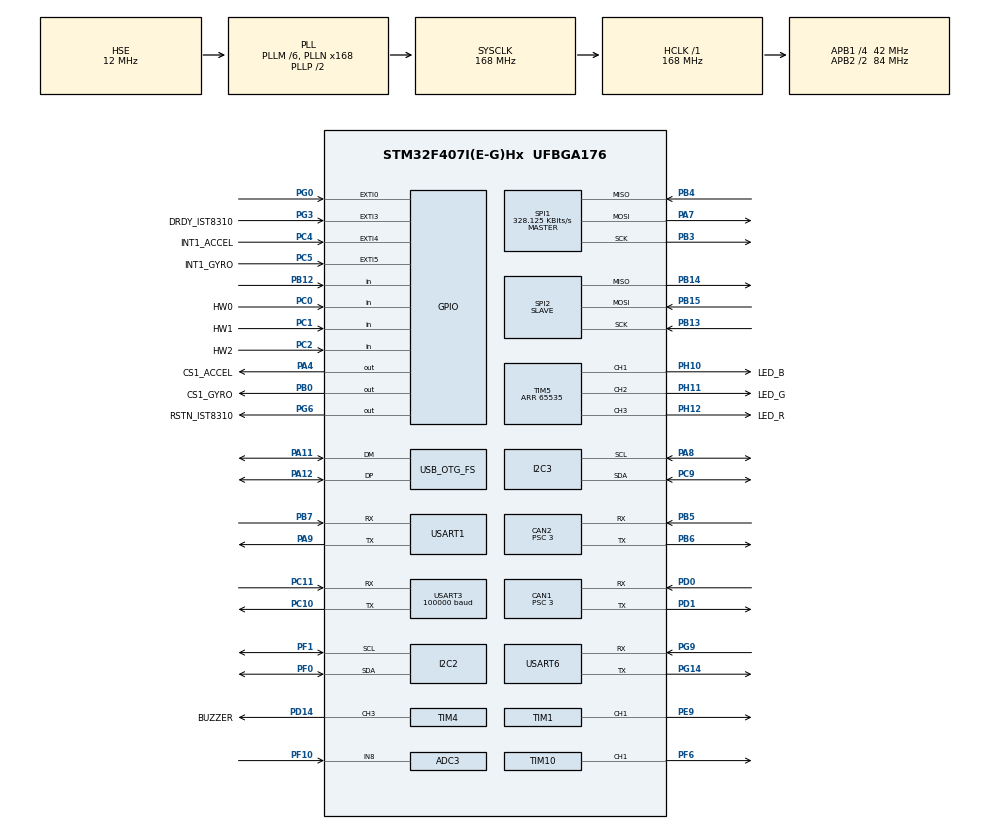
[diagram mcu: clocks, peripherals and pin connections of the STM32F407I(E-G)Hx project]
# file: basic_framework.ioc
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ADC1.Channel-0\#ChannelRegularConversion=ADC_CHANNEL_TEMPSENSOR
ADC1.ClockPrescaler=ADC_CLOCK_SYNC_PCLK_DIV6
ADC1.NbrOfConversionFlag=1
ADC1.Rank-0\#ChannelRegularConversion=1
ADC1.SamplingTime-0\#ChannelRegularConversion=ADC_SAMPLETIME_3CYCLES
ADC1.master=1
ADC3.Channel-0\#ChannelRegularConversion=ADC_CHANNEL_8
ADC3.ClockPrescaler=ADC_CLOCK_SYNC_PCLK_DIV6
ADC3.NbrOfConversionFlag=1
ADC3.Rank-0\#ChannelRegularConversion=1
ADC3.SamplingTime-0\#ChannelRegularConversion=ADC_SAMPLETIME_3CYCLES
CAN1.BS1=CAN_BS1_10TQ
CAN1.BS2=CAN_BS2_3TQ
CAN1.CalculateBaudRate=1000000
CAN1.CalculateTimeBit=1000
CAN1.CalculateTimeQuantum=71.42857142857143
CAN1.Prescaler=3
CAN2.BS1=CAN_BS1_10TQ
CAN2.BS2=CAN_BS2_3TQ
CAN2.CalculateBaudRate=1000000
CAN2.CalculateTimeBit=1000
CAN2.CalculateTimeQuantum=71.42857142857143
CAN2.Prescaler=3
Dma.Request0=USART3_RX
Dma.Request1=SPI1_RX
Dma.Request2=SPI1_TX
Dma.Request3=USART1_RX
Dma.Request4=USART1_TX
Dma.Request5=USART6_RX
Dma.Request6=USART6_TX
Dma.SPI1_RX.1.Direction=DMA_PERIPH_TO_MEMORY
Dma.SPI1_RX.1.FIFOMode=DMA_FIFOMODE_DISABLE
Dma.SPI1_RX.1.Instance=DMA2_Stream2
Dma.SPI1_RX.1.MemDataAlignment=DMA_MDATAALIGN_BYTE
Dma.SPI1_RX.1.MemInc=DMA_MINC_ENABLE
Dma.SPI1_RX.1.Mode=DMA_NORMAL
Dma.SPI1_RX.1.PeriphDataAlignment=DMA_PDATAALIGN_BYTE
Dma.SPI1_RX.1.PeriphInc=DMA_PINC_DISABLE
Dma.SPI1_RX.1.Priority=DMA_PRIORITY_VERY_HIGH
Dma.SPI1_TX.2.Direction=DMA_MEMORY_TO_PERIPH
Dma.SPI1_TX.2.FIFOMode=DMA_FIFOMODE_DISABLE
Dma.SPI1_TX.2.Instance=DMA2_Stream3
Dma.SPI1_TX.2.MemDataAlignment=DMA_MDATAALIGN_BYTE
Dma.SPI1_TX.2.MemInc=DMA_MINC_ENABLE
Dma.SPI1_TX.2.Mode=DMA_NORMAL
Dma.SPI1_TX.2.PeriphDataAlignment=DMA_PDATAALIGN_BYTE
Dma.SPI1_TX.2.PeriphInc=DMA_PINC_DISABLE
Dma.SPI1_TX.2.Priority=DMA_PRIORITY_HIGH
Dma.USART1_RX.3.Direction=DMA_PERIPH_TO_MEMORY
Dma.USART1_RX.3.FIFOMode=DMA_FIFOMODE_DISABLE
Dma.USART1_RX.3.Instance=DMA2_Stream5
Dma.USART1_RX.3.MemDataAlignment=DMA_MDATAALIGN_BYTE
Dma.USART1_RX.3.MemInc=DMA_MINC_ENABLE
Dma.USART1_RX.3.Mode=DMA_NORMAL
Dma.USART1_RX.3.PeriphDataAlignment=DMA_PDATAALIGN_BYTE
Dma.USART1_RX.3.PeriphInc=DMA_PINC_DISABLE
Dma.USART1_RX.3.Priority=DMA_PRIORITY_LOW
Dma.USART1_TX.4.Direction=DMA_MEMORY_TO_PERIPH
Dma.USART1_TX.4.FIFOMode=DMA_FIFOMODE_DISABLE
Dma.USART1_TX.4.Instance=DMA2_Stream7
Dma.USART1_TX.4.MemDataAlignment=DMA_MDATAALIGN_BYTE
Dma.USART1_TX.4.MemInc=DMA_MINC_ENABLE
Dma.USART1_TX.4.Mode=DMA_NORMAL
Dma.USART1_TX.4.PeriphDataAlignment=DMA_PDATAALIGN_BYTE
Dma.USART1_TX.4.PeriphInc=DMA_PINC_DISABLE
Dma.USART1_TX.4.Priority=DMA_PRIORITY_LOW
Dma.USART3_RX.0.Direction=DMA_PERIPH_TO_MEMORY
Dma.USART3_RX.0.FIFOMode=DMA_FIFOMODE_DISABLE
Dma.USART3_RX.0.Instance=DMA1_Stream1
Dma.USART3_RX.0.MemDataAlignment=DMA_MDATAALIGN_BYTE
Dma.USART3_RX.0.MemInc=DMA_MINC_ENABLE
Dma.USART3_RX.0.Mode=DMA_NORMAL
Dma.USART3_RX.0.PeriphDataAlignment=DMA_PDATAALIGN_BYTE
Dma.USART3_RX.0.PeriphInc=DMA_PINC_DISABLE
Dma.USART3_RX.0.Priority=DMA_PRIORITY_VERY_HIGH
Dma.USART6_RX.5.Direction=DMA_PERIPH_TO_MEMORY
Dma.USART6_RX.5.FIFOMode=DMA_FIFOMODE_DISABLE
Dma.USART6_RX.5.Instance=DMA2_Stream1
Dma.USART6_RX.5.MemDataAlignment=DMA_MDATAALIGN_BYTE
Dma.USART6_RX.5.MemInc=DMA_MINC_ENABLE
Dma.USART6_RX.5.Mode=DMA_NORMAL
Dma.USART6_RX.5.PeriphDataAlignment=DMA_PDATAALIGN_BYTE
Dma.USART6_RX.5.PeriphInc=DMA_PINC_DISABLE
Dma.USART6_RX.5.Priority=DMA_PRIORITY_LOW
Dma.USART6_TX.6.Direction=DMA_MEMORY_TO_PERIPH
Dma.USART6_TX.6.FIFOMode=DMA_FIFOMODE_DISABLE
Dma.USART6_TX.6.Instance=DMA2_Stream6
Dma.USART6_TX.6.MemDataAlignment=DMA_MDATAALIGN_BYTE
Dma.USART6_TX.6.MemInc=DMA_MINC_ENABLE
Dma.USART6_TX.6.Mode=DMA_NORMAL
Dma.USART6_TX.6.PeriphDataAlignment=DMA_PDATAALIGN_BYTE
Dma.USART6_TX.6.PeriphInc=DMA_PINC_DISABLE
Dma.USART6_TX.6.Priority=DMA_PRIORITY_LOW
FREERTOS.INCLUDE_vTaskDelayUntil=1
FREERTOS.INCLUDE_xTaskGetHandle=1
FREERTOS.Tasks01=defaultTask,0,128,StartDefaultTask,Default,NULL,Dynamic,NULL,NULL
I2C2.I2C_Mode=I2C_Fast
I2C3.I2C_Mode=I2C_Fast
Mcu.Family=STM32F4
Mcu.Name=STM32F407I(E-G)Hx
Mcu.Package=UFBGA176
NVIC.CAN1_RX0_IRQn=true\:6\:0\:true\:false\:true\:true\:true\:true\:true
NVIC.CAN2_RX0_IRQn=true\:5\:0\:false\:false\:true\:true\:true\:true\:true
NVIC.DMA1_Stream1_IRQn=true\:5\:0\:false\:false\:true\:true\:false\:true\:true
NVIC.DMA2_Stream1_IRQn=true\:5\:0\:false\:false\:true\:true\:false\:true\:true
NVIC.DMA2_Stream2_IRQn=true\:5\:0\:false\:false\:false\:false\:false\:true\:true
NVIC.DMA2_Stream3_IRQn=true\:5\:0\:false\:false\:true\:true\:false\:true\:true
NVIC.DMA2_Stream5_IRQn=true\:5\:0\:false\:false\:true\:true\:false\:true\:true
NVIC.DMA2_Stream6_IRQn=true\:5\:0\:false\:false\:true\:true\:false\:true\:true
NVIC.DMA2_Stream7_IRQn=true\:5\:0\:false\:false\:true\:true\:false\:true\:true
NVIC.EXTI0_IRQn=true\:6\:0\:true\:false\:true\:true\:true\:true\:true
NVIC.EXTI3_IRQn=true\:5\:0\:false\:false\:true\:true\:true\:true\:true
NVIC.EXTI4_IRQn=true\:5\:0\:false\:false\:true\:true\:true\:true\:true
NVIC.EXTI9_5_IRQn=true\:5\:0\:false\:false\:true\:true\:true\:true\:true
NVIC.OTG_FS_IRQn=true\:5\:0\:false\:false\:true\:true\:false\:true\:true
NVIC.PriorityGroup=NVIC_PRIORITYGROUP_4
NVIC.TIM7_IRQn=true\:15\:0\:false\:false\:true\:false\:false\:true\:true
NVIC.TimeBase=TIM7_IRQn
NVIC.TimeBaseIP=TIM7
NVIC.USART1_IRQn=true\:5\:0\:false\:false\:true\:true\:true\:true\:true
NVIC.USART3_IRQn=true\:5\:0\:false\:false\:false\:true\:true\:true\:true
NVIC.USART6_IRQn=true\:5\:0\:false\:false\:true\:true\:true\:true\:true
PA11.Mode=Device_Only
PA11.Signal=USB_OTG_FS_DM
PA12.Mode=Device_Only
PA12.Signal=USB_OTG_FS_DP
PA13.Mode=Serial_Wire
PA13.Signal=SYS_JTMS-SWDIO
PA14.Mode=Serial_Wire
PA14.Signal=SYS_JTCK-SWCLK
PA4.GPIO_Label=CS1_ACCEL
PA4.GPIO_PuPd=GPIO_PULLUP
PA4.GPIO_Speed=GPIO_SPEED_FREQ_HIGH
PA4.PinState=GPIO_PIN_SET
PA4.Signal=GPIO_Output
PA7.GPIO_PuPd=GPIO_PULLUP
PA7.Mode=Full_Duplex_Master
PA7.Signal=SPI1_MOSI
PA8.Mode=I2C
PA8.Signal=I2C3_SCL
PA9.GPIO_PuPd=GPIO_PULLUP
PA9.Mode=Asynchronous
PA9.Signal=USART1_TX
PB0.GPIO_Label=CS1_GYRO
PB0.GPIO_PuPd=GPIO_PULLUP
PB0.GPIO_Speed=GPIO_SPEED_FREQ_HIGH
PB0.PinState=GPIO_PIN_SET
PB0.Signal=GPIO_Output
PB12.GPIO_PuPd=GPIO_PULLUP
PB12.Signal=GPIO_Input
PB13.GPIO_PuPd=GPIO_PULLUP
PB13.Mode=Full_Duplex_Slave
PB13.Signal=SPI2_SCK
PB14.GPIO_PuPd=GPIO_PULLUP
PB14.Mode=Full_Duplex_Slave
PB14.Signal=SPI2_MISO
PB15.GPIO_PuPd=GPIO_PULLUP
PB15.Mode=Full_Duplex_Slave
PB15.Signal=SPI2_MOSI
PB3.GPIO_PuPd=GPIO_PULLUP
PB3.Mode=Full_Duplex_Master
PB3.Signal=SPI1_SCK
PB4.GPIO_PuPd=GPIO_PULLUP
PB4.Mode=Full_Duplex_Master
PB4.Signal=SPI1_MISO
PB5.Mode=CAN_Activate
PB5.Signal=CAN2_RX
PB6.Mode=CAN_Activate
PB6.Signal=CAN2_TX
PB7.GPIO_PuPd=GPIO_PULLUP
PB7.Mode=Asynchronous
PB7.Signal=USART1_RX
PC0.GPIO_Label=HW0
PC0.Signal=GPIO_Input
PC1.GPIO_Label=HW1
PC1.Signal=GPIO_Input
PC10.GPIO_PuPd=GPIO_PULLUP
PC10.Mode=Asynchronous
PC10.Signal=USART3_TX
PC11.GPIO_PuPd=GPIO_PULLUP
PC11.Mode=Asynchronous
PC11.Signal=USART3_RX
PC2.GPIO_Label=HW2
PC2.Signal=GPIO_Input
PC4.GPIO_Label=INT1_ACCEL
PC4.GPIO_ModeDefaultEXTI=GPIO_MODE_IT_FALLING
PC4.GPIO_PuPd=GPIO_PULLUP
PC4.Signal=GPXTI4
PC5.GPIO_Label=INT1_GYRO
PC5.GPIO_ModeDefaultEXTI=GPIO_MODE_IT_FALLING
PC5.GPIO_PuPd=GPIO_PULLUP
PC5.Signal=GPXTI5
PC9.Mode=I2C
PC9.Signal=I2C3_SDA
PD0.Mode=CAN_Activate
PD0.Signal=CAN1_RX
PD1.Mode=CAN_Activate
PD1.Signal=CAN1_TX
PD14.GPIO_Label=BUZZER
PD14.GPIO_PuPd=GPIO_PULLUP
PD14.GPIO_Speed=GPIO_SPEED_FREQ_VERY_HIGH
PD14.Signal=S_TIM4_CH3
PE9.Signal=S_TIM1_CH1
PF0.GPIO_Pu=GPIO_PULLUP
PF0.Mode=I2C
PF0.Signal=I2C2_SDA
PF1.GPIO_Pu=GPIO_PULLUP
PF1.Mode=I2C
PF1.Signal=I2C2_SCL
PF10.Mode=IN8
PF10.Signal=ADC3_IN8
PF6.GPIO_PuPd=GPIO_PULLUP
PF6.GPIO_Speed=GPIO_SPEED_FREQ_HIGH
PF6.Signal=S_TIM10_CH1
PG0.GPIO_PuPd=GPIO_PULLUP
PG0.Signal=GPXTI0
PG14.GPIO_PuPd=GPIO_PULLUP
PG14.Mode=Asynchronous
PG14.Signal=USART6_TX
PG3.GPIO_Label=DRDY_IST8310
PG3.GPIO_PuPd=GPIO_PULLUP
PG3.Signal=GPXTI3
PG6.GPIO_Label=RSTN_IST8310
PG6.GPIO_PuPd=GPIO_PULLUP
PG6.GPIO_Speed=GPIO_SPEED_FREQ_MEDIUM
PG6.PinState=GPIO_PIN_SET
PG6.Signal=GPIO_Output
PG9.GPIO_PuPd=GPIO_PULLUP
PG9.Mode=Asynchronous
PG9.Signal=USART6_RX
PH0-OSC_IN.Mode=HSE-External-Oscillator
PH0-OSC_IN.Signal=RCC_OSC_IN
PH1-OSC_OUT.Mode=HSE-External-Oscillator
PH1-OSC_OUT.Signal=RCC_OSC_OUT
PH10.GPIO_Label=LED_B
PH10.GPIO_PuPd=GPIO_PULLUP
PH10.GPIO_Speed=GPIO_SPEED_FREQ_HIGH
PH10.Signal=S_TIM5_CH1
PH11.GPIO_Label=LED_G
PH11.GPIO_PuPd=GPIO_PULLUP
PH11.GPIO_Speed=GPIO_SPEED_FREQ_HIGH
PH11.Signal=S_TIM5_CH2
PH12.GPIO_Label=LED_R
PH12.GPIO_PuPd=GPIO_PULLUP
PH12.GPIO_Speed=GPIO_SPEED_FREQ_HIGH
PH12.Signal=S_TIM5_CH3
ProjectManager.HeapSize=0x200
ProjectManager.StackSize=0x400
ProjectManager.TargetToolchain=MDK-ARM V5
RCC.48MHZClocksFreq_Value=48000000
RCC.AHBFreq_Value=168000000
RCC.APB1CLKDivider=RCC_HCLK_DIV4
RCC.APB1Freq_Value=42000000
RCC.APB1TimFreq_Value=84000000
RCC.APB2CLKDivider=RCC_HCLK_DIV2
RCC.APB2Freq_Value=84000000
RCC.APB2TimFreq_Value=168000000
RCC.CortexFreq_Value=168000000
RCC.HCLKFreq_Value=168000000
RCC.HSE_VALUE=12000000
RCC.HSI_VALUE=16000000
RCC.LSE_VALUE=32768
RCC.PLLM=6
RCC.PLLN=168
RCC.PLLQ=7
RCC.SYSCLKFreq_VALUE=168000000
RCC.SYSCLKSource=RCC_SYSCLKSOURCE_PLLCLK
RCC.VCOOutputFreq_Value=336000000
RTC.AsynchPrediv=124
SH.S_TIM10_CH1.0=TIM10_CH1,PWM Generation1 CH1
SH.S_TIM1_CH1.0=TIM1_CH1,PWM Generation1 CH1
SH.S_TIM4_CH3.0=TIM4_CH3,PWM Generation3 CH3
SH.S_TIM5_CH1.0=TIM5_CH1,PWM Generation1 CH1
SH.S_TIM5_CH2.0=TIM5_CH2,PWM Generation2 CH2
SH.S_TIM5_CH3.0=TIM5_CH3,PWM Generation3 CH3
SPI1.BaudRatePrescaler=SPI_BAUDRATEPRESCALER_256
SPI1.CLKPhase=SPI_PHASE_2EDGE
SPI1.CLKPolarity=SPI_POLARITY_HIGH
SPI1.CalculateBaudRate=328.125 KBits/s
SPI1.Direction=SPI_DIRECTION_2LINES
SPI1.Mode=SPI_MODE_MASTER
SPI1.VirtualType=VM_MASTER
SPI2.CLKPhase=SPI_PHASE_2EDGE
SPI2.CLKPolarity=SPI_POLARITY_HIGH
SPI2.Direction=SPI_DIRECTION_2LINES
SPI2.Mode=SPI_MODE_SLAVE
SPI2.VirtualType=VM_SLAVE
TIM1.Channel-PWM\ Generation1\ CH1=TIM_CHANNEL_1
TIM1.Period=19999
TIM1.Prescaler=167
TIM1.Pulse-PWM\ Generation1\ CH1=5000
TIM10.Channel=TIM_CHANNEL_1
TIM10.Period=4999
TIM2.Period=65535
TIM2.Prescaler=83
TIM4.Channel-PWM\ Generation3\ CH3=TIM_CHANNEL_3
TIM4.Period=20999
TIM4.Prescaler=0
TIM5.Channel-PWM\ Generation1\ CH1=TIM_CHANNEL_1
TIM5.Channel-PWM\ Generation2\ CH2=TIM_CHANNEL_2
TIM5.Channel-PWM\ Generation3\ CH3=TIM_CHANNEL_3
TIM5.Period=65535
USART1.VirtualMode=VM_ASYNC
USART3.BaudRate=100000
USART3.Parity=PARITY_EVEN
USART3.VirtualMode=VM_ASYNC
USART3.WordLength=WORDLENGTH_9B
USART6.VirtualMode=VM_ASYNC
USB_DEVICE.CLASS_NAME_FS=CDC
USB_DEVICE.VirtualMode-CDC_FS=Cdc
USB_DEVICE.VirtualModeFS=Cdc_FS
USB_OTG_FS.VirtualMode=Device_Only
VP_ADC1_TempSens_Input.Mode=IN-TempSens
VP_FREERTOS_VS_CMSIS_V1.Mode=CMSIS_V1
VP_RTC_VS_RTC_Activate.Mode=RTC_Enabled
VP_SYS_VS_tim7.Mode=TIM7
VP_TIM10_VS_ClockSourceINT.Mode=Enable_Timer
VP_TIM1_VS_ClockSourceINT.Mode=Internal
VP_TIM2_VS_ClockSourceINT.Mode=Internal
VP_TIM4_VS_ClockSourceINT.Mode=Internal
VP_TIM5_VS_ClockSourceINT.Mode=Internal
VP_USB_DEVICE_VS_USB_DEVICE_CDC_FS.Mode=CDC_FS
board=custom

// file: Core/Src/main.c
/* USER CODE BEGIN Header */
/**
  ******************************************************************************
  * @file           : main.c
  * @brief          : Main program body
  ******************************************************************************
  * @attention
  *
  * Copyright (c) 2023 STMicroelectronics.
  * All rights reserved.
  *
  * This software is licensed under terms that can be found in the LICENSE file
  * in the root directory of this software component.
  * If no LICENSE file comes with this software, it is provided AS-IS.
  *
  ******************************************************************************
  */
/* USER CODE END Header */
#include "main.h"
#include "cmsis_os.h"
#include "adc.h"
#include "can.h"
#include "dma.h"
#include "i2c.h"
#include "rtc.h"
#include "spi.h"
#include "tim.h"
#include "usart.h"
#include "usb_device.h"
#include "gpio.h"

/* USER CODE BEGIN Includes */
#include "bsp_can.h"
#include "bsp_dwt.h"
#include "bsp_usart.h"
#include "bsp_pwm.h"
#include "remote_control.h"
#include "BMI088driver.h"
#include "imu.h"
#include "led.h"
#include "MyAntenne_L1S.h"
#include "task_center.h"
#include "calibrate.h"
#include "remote_control.h"
/* USER CODE END Includes */

void SystemClock_Config(void);
void MX_FREERTOS_Init(void);

/* USER CODE BEGIN 0 */
//extern RC_ctrl_t rc_ctrl;
//fp32 INS_angle_start[3]={0.0f,0.0f,0.0f};
/* USER CODE END 0 */

int main(void)
{

  /* MCU Configuration--------------------------------------------------------*/

  /* Reset of all peripherals, Initializes the Flash interface and the Systick. */
  HAL_Init();

  /* Configure the system clock */
  SystemClock_Config();

  /* Initialize all configured peripherals */
  MX_GPIO_Init();
  MX_DMA_Init();
  MX_TIM1_Init();
  MX_USART3_UART_Init();
  MX_TIM5_Init();
  MX_SPI1_Init();
  MX_CAN1_Init();
  MX_CAN2_Init();
  MX_TIM10_Init();
  MX_I2C3_Init();
  MX_SPI2_Init();
  MX_ADC1_Init();
  MX_ADC3_Init();
  MX_RTC_Init();
  MX_TIM4_Init();
  MX_I2C2_Init();
  MX_TIM2_Init();
  MX_USART1_UART_Init();
  MX_USART6_UART_Init();
  /* USER CODE BEGIN 2 */
  //夹爪舵机定时器
  HAL_TIM_Base_Start(&htim1);
  PWMStart(&htim1,TIM_CHANNEL_1);
  //蜂鸣器定时器
  HAL_TIM_Base_Start(&htim4);
  PWMStart(&htim4,TIM_CHANNEL_3);
  //LED定时器
  HAL_TIM_Base_Start(&htim5);
  PWMStart(&htim5,TIM_CHANNEL_1);
  PWMStart(&htim5,TIM_CHANNEL_2);
  PWMStart(&htim5,TIM_CHANNEL_3);
  //陀螺仪温度定时器
  HAL_TIM_Base_Start(&htim10);
  PWMStart(&htim10,TIM_CHANNEL_1);
  //读取Flash内的校准值（暂时仅使用imu部分数据来校准零漂）
//  cali_param_init();
  CANFilterInit();
  //机器人初始化
  RobotInit();
  /* USER CODE END 2 */

  /* Call init function for freertos objects (in freertos.c) */
  MX_FREERTOS_Init();

  /* Start scheduler */
  osKernelStart();

  /* We should never get here as control is now taken by the scheduler */
  /* Infinite loop */
  while (1)
  {

  }
}

void SystemClock_Config(void)
{
  RCC_OscInitTypeDef RCC_OscInitStruct = {0};
  RCC_ClkInitTypeDef RCC_ClkInitStruct = {0};

  /** Configure the main internal regulator output voltage
  */
  __HAL_RCC_PWR_CLK_ENABLE();
  __HAL_PWR_VOLTAGESCALING_CONFIG(PWR_REGULATOR_VOLTAGE_SCALE1);

  /** Initializes the RCC Oscillators according to the specified parameters
  * in the RCC_OscInitTypeDef structure.
  */
  RCC_OscInitStruct.OscillatorType = RCC_OSCILLATORTYPE_LSI|RCC_OSCILLATORTYPE_HSE;
  RCC_OscInitStruct.HSEState = RCC_HSE_ON;
  RCC_OscInitStruct.LSIState = RCC_LSI_ON;
  RCC_OscInitStruct.PLL.PLLState = RCC_PLL_ON;
  RCC_OscInitStruct.PLL.PLLSource = RCC_PLLSOURCE_HSE;
  RCC_OscInitStruct.PLL.PLLM = 6;
  RCC_OscInitStruct.PLL.PLLN = 168;
  RCC_OscInitStruct.PLL.PLLP = RCC_PLLP_DIV2;
  RCC_OscInitStruct.PLL.PLLQ = 7;
  if (HAL_RCC_OscConfig(&RCC_OscInitStruct) != HAL_OK)
  {
    Error_Handler();
  }

  /** Initializes the CPU, AHB and APB buses clocks
  */
  RCC_ClkInitStruct.ClockType = RCC_CLOCKTYPE_HCLK|RCC_CLOCKTYPE_SYSCLK
                              |RCC_CLOCKTYPE_PCLK1|RCC_CLOCKTYPE_PCLK2;
  RCC_ClkInitStruct.SYSCLKSource = RCC_SYSCLKSOURCE_PLLCLK;
  RCC_ClkInitStruct.AHBCLKDivider = RCC_SYSCLK_DIV1;
  RCC_ClkInitStruct.APB1CLKDivider = RCC_HCLK_DIV4;
  RCC_ClkInitStruct.APB2CLKDivider = RCC_HCLK_DIV2;

  if (HAL_RCC_ClockConfig(&RCC_ClkInitStruct, FLASH_LATENCY_5) != HAL_OK)
  {
    Error_Handler();
  }
}

void HAL_TIM_PeriodElapsedCallback(TIM_HandleTypeDef *htim)
{
  if (htim->Instance == TIM7) {
    HAL_IncTick();
  }
}

void Error_Handler(void)
{
  __disable_irq();
  while (1)
  {
  }
}

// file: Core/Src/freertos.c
/* USER CODE BEGIN Header */
/**
  ******************************************************************************
  * File Name          : freertos.c
  * Description        : Code for freertos applications
  ******************************************************************************
  * @attention
  *
  * Copyright (c) 2023 STMicroelectronics.
  * All rights reserved.
  *
  * This software is licensed under terms that can be found in the LICENSE file
  * in the root directory of this software component.
  * If no LICENSE file comes with this software, it is provided AS-IS.
  *
  ******************************************************************************
  */
/* USER CODE END Header */

#include "FreeRTOS.h"
#include "task.h"
#include "main.h"
#include "cmsis_os.h"

/* USER CODE BEGIN Includes */
#include "can_send.h"
#include "gimbal.h"
#include "system.h"
#include "task_center.h"
/* USER CODE END Includes */

/* USER CODE BEGIN Variables */
osThreadId UisendHandle;
osThreadId defaultTaskHandle;
//add thread
osThreadId CANSendTaskHandle;
osThreadId GimbalTaskHandle;
osThreadId SystemHandle;
osThreadId imuTaskHandle;
osThreadId MainTaskHandle;
osThreadId MoveTaskHandle;
osThreadId CommuniTaskHandle;
osThreadId UI_Send;
osThreadId caliHandle;
/* USER CODE END Variables */
osThreadId defaultTaskHandle;

void StartDefaultTask(void const * argument);

extern void MX_USB_DEVICE_Init(void);
void MX_FREERTOS_Init(void); /* (MISRA C 2004 rule 8.1) */

/* GetIdleTaskMemory prototype (linked to static allocation support) */
void vApplicationGetIdleTaskMemory( StaticTask_t **ppxIdleTaskTCBBuffer, StackType_t **ppxIdleTaskStackBuffer, uint32_t *pulIdleTaskStackSize );

/* USER CODE BEGIN GET_IDLE_TASK_MEMORY */
static StaticTask_t xIdleTaskTCBBuffer;
static StackType_t xIdleStack[configMINIMAL_STACK_SIZE];

void vApplicationGetIdleTaskMemory( StaticTask_t **ppxIdleTaskTCBBuffer, StackType_t **ppxIdleTaskStackBuffer, uint32_t *pulIdleTaskStackSize )
{
  *ppxIdleTaskTCBBuffer = &xIdleTaskTCBBuffer;
  *ppxIdleTaskStackBuffer = &xIdleStack[0];
  *pulIdleTaskStackSize = configMINIMAL_STACK_SIZE;
  /* place for user code */
}
/* USER CODE END GET_IDLE_TASK_MEMORY */

void MX_FREERTOS_Init(void) {

  /* Create the thread(s) */
  /* definition and creation of defaultTask */
  osThreadDef(defaultTask, StartDefaultTask, osPriorityNormal, 0, 128);
  defaultTaskHandle = osThreadCreate(osThread(defaultTask), NULL);

  /* USER CODE BEGIN RTOS_THREADS */
  /* add threads, ... */
//	osThreadDef(SYSTEM, SystemTask, osPriorityHigh, 0, 256);
//  SystemHandle = osThreadCreate(osThread(SYSTEM), NULL);
//
//	osThreadDef(gimbal, GimbalTask, osPriorityHigh, 0, 512);
//  GimbalTaskHandle = osThreadCreate(osThread(gimbal), NULL);

	osThreadDef(CANTask, MessageSendTask, osPriorityHigh, 0, 256);
  CANSendTaskHandle = osThreadCreate(osThread(CANTask), NULL);

	osThreadDef(imuTask, INSTask, osPriorityRealtime, 0, 1024);
  imuTaskHandle = osThreadCreate(osThread(imuTask), NULL);

	osThreadDef(main_thread, MainTask, osPriorityAboveNormal, 0, 1024);
  MainTaskHandle = osThreadCreate(osThread(main_thread), NULL);

//	osThreadDef(move_thread, MoveTask, osPriorityHigh, 0, 512);
//  MainTaskHandle = osThreadCreate(osThread(move_thread), NULL);

	osThreadDef(communicateTask, CommuniTask, osPriorityHigh, 0, 128);
  CommuniTaskHandle = osThreadCreate(osThread(communicateTask), NULL);

	osThreadDef(UI_Send, UiTask, osPriorityNormal, 0, 256);
	UisendHandle = osThreadCreate(osThread(UI_Send), NULL);

//	osThreadDef(cali, CalibrateTask, osPriorityAboveNormal, 0, 512);
//  caliHandle = osThreadCreate(osThread(cali), NULL);
  /* USER CODE END RTOS_THREADS */

}

void StartDefaultTask(void const * argument)
{
  /* init code for USB_DEVICE */
  MX_USB_DEVICE_Init();
  /* USER CODE BEGIN StartDefaultTask */
  /* Infinite loop */
   osThreadTerminate(NULL); // ������ú��л�ռ��cpu
  /* USER CODE END StartDefaultTask */
}
